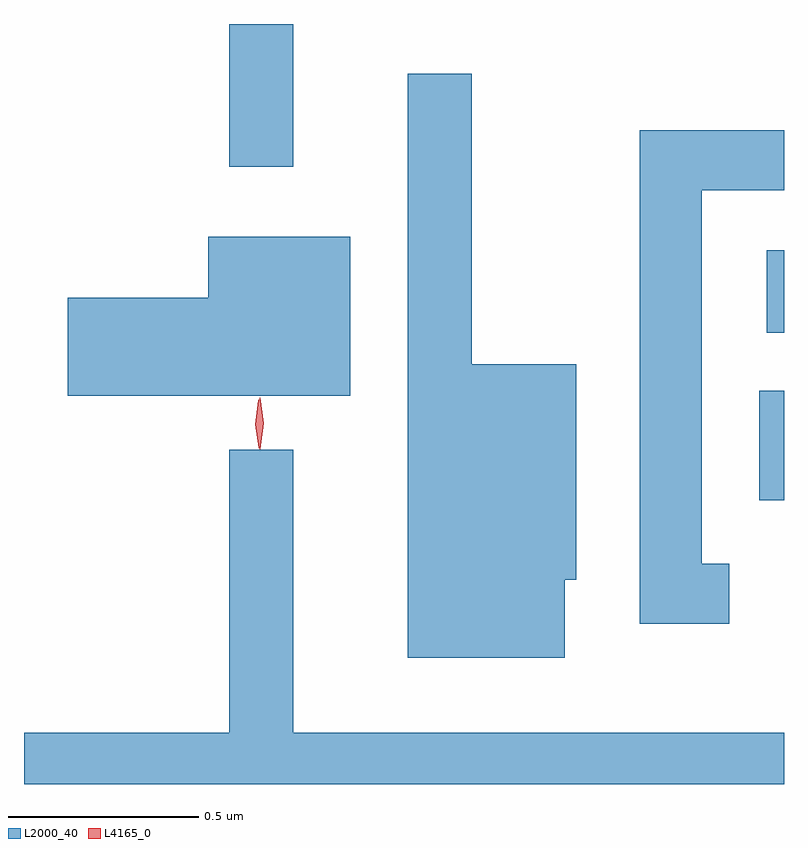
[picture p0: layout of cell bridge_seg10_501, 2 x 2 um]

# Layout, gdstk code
import gdstk
lib = gdstk.Library(unit=1e-6, precision=1e-09)
def R(c, l, rs):  # rectangles x0, y0, x1, y1
    for r in rs: c.add(gdstk.rectangle(r[:2], r[2:], *l))
def P(c, l, *ps):  # polygons
    for p in ps: c.add(gdstk.Polygon(p, *l))
L2000_40 = (2000, 40)
L4165_0 = (4165, 0)

bridge_seg10_501 = lib.new_cell('bridge_seg10_501')
R(bridge_seg10_501, L2000_40, [(1041.106,2159.196,1041.171,2159.484), (1041.126,2159.636,1041.171,2159.854), (1039.711,2160.073,1039.879,2160.449)])
P(bridge_seg10_501, L2000_40, [(1040.594,2158.986),(1040.624,2158.986),(1040.624,2159.554),(1040.349,2159.554),(1040.349,2160.318),(1040.181,2160.318),(1040.181,2158.781),(1040.594,2158.781)],
  [(1041.027,2159.029),(1040.954,2159.029),(1040.954,2160.011),(1041.171,2160.011),(1041.171,2160.169),(1040.791,2160.169),(1040.791,2158.871),(1041.027,2158.871)],
  [(1040.029,2159.889),(1039.656,2159.889),(1039.656,2159.729),(1039.286,2159.729),(1039.286,2159.471),(1040.029,2159.471)],
  [(1041.171,2158.584),(1039.879,2158.584),(1039.879,2159.328),(1039.711,2159.328),(1039.711,2158.584),(1039.171,2158.584),(1039.171,2158.449),(1041.171,2158.449)])
P(bridge_seg10_501, L4165_0, [(1039.792,2159.33),(1039.792,2159.33),(1039.782,2159.398),(1039.792,2159.466),(1039.792,2159.466),(1039.793,2159.466),(1039.802,2159.398),(1039.793,2159.33)],
  [(1039.789,2159.333),(1039.789,2159.334),(1039.779,2159.396),(1039.788,2159.459),(1039.789,2159.46),(1039.789,2159.459),(1039.799,2159.396),(1039.79,2159.334)])

lib.write_gds('bridge_seg10_501.gds')
